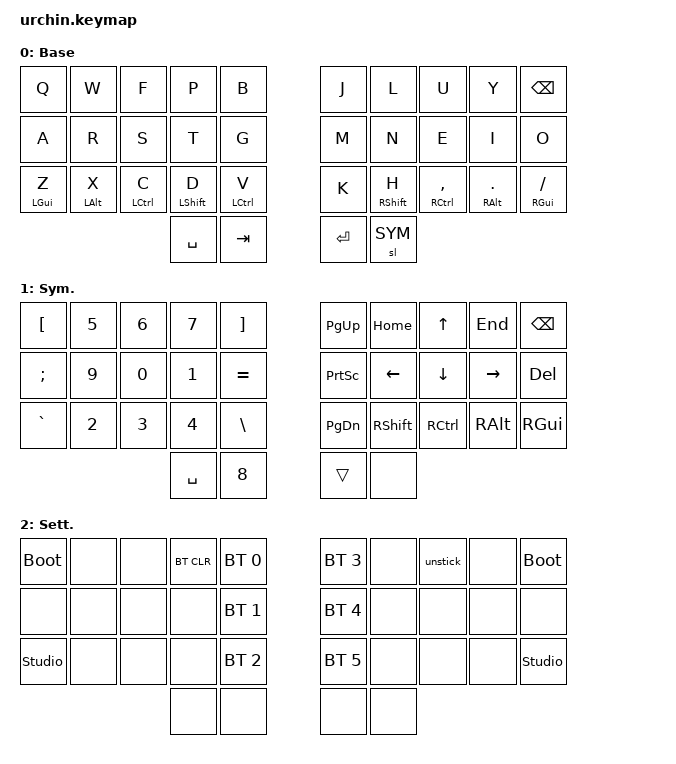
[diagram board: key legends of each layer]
/*
 * Copyright (c) 2020 duckyb
 *
 * SPDX-License-Identifier: MIT
 */

#include <behaviors.dtsi>
#include <dt-bindings/zmk/keys.h>
#include <dt-bindings/zmk/bt.h>
#include <dt-bindings/zmk/outputs.h>

// Layer definitions
#define BASE 0
#define SYM 1
#define SETTINGS 2
// -----------------

&sk {
	// don't release mods on other mods presses
	ignore-modifiers;
};

/ {

    behaviors {
        bmt: balanced_mod_taps {
            compatible = "zmk,behavior-hold-tap";
            #binding-cells = <2>;
            tapping-term-ms = <150>;    // <---[[moderate duration]]
            quick-tap-ms = <0>;
            flavor = "balanced";
            bindings = <&kp>, <&kp>;
        };
    };

	macros {
		// sometimes my device thinks a modifier is being held down
		// pressing all modifiers fixes it.
		unstick: unstick {
			label = "ZM_unstick";
			compatible = "zmk,behavior-macro";
			#binding-cells = <0>;
			bindings = <&kp LSHIFT &kp RSHIFT &kp LCTRL &kp RCTRL &kp LALT &kp RALT &kp LGUI &kp RGUI>;
		};
	};

	combos {
		compatible = "zmk,combos";
		// both right thumb keys
		combo_caps_lock {
			timeout-ms = <25>;
			key-positions = <1 2 3>;
			bindings = <&kp CAPSLOCK>;
		};
		combo_escape {
			timeout-ms = <25>;
			key-positions = <1 2>;
			bindings = <&kp ESCAPE>;
		};
		combo_exclamation {
			timeout-ms = <25>;
			key-positions = <2 3>;
			bindings = <&kp EXCLAMATION>;
		};
		combo_minus {
			timeout-ms = <25>;
			key-positions = <6 7>;
			bindings = <&kp MINUS>;
		};
		combo_apostrophe {
			timeout-ms = <25>;
			key-positions = <7 8>;
			bindings = <&kp SINGLE_QUOTE>;
		};

		// both left thumb keys
		combo_settings {
			timeout-ms = <25>;
			key-positions = <30 31>;
			bindings = <&mo SETTINGS>;
		};
	};

	keymap {
		compatible = "zmk,keymap";
		// Base alpha layer
		default_layer {
			label = "Base";
			bindings = <
			&kp Q &kp W &kp F &kp P &kp B                                                     	       &kp J &kp L  &kp U     &kp Y   &kp BACKSPACE 
			&kp A &kp R &kp S &kp T &kp G                                                     	       &kp M &kp N  &kp E     &kp I   &kp O
			&bmt LEFT_GUI Z &bmt LEFT_ALT X &bmt LEFT_CONTROL C &bmt LEFT_SHIFT D &bmt LEFT_CONTROL V           &kp K &bmt RIGHT_SHIFT H  &bmt RIGHT_CONTROL COMMA &bmt RIGHT_ALT DOT &bmt RIGHT_GUI SLASH
							&kp SPACE &kp TAB                                              &kp ENTER &sl SYM
			>;
		};

		// Numbers and high frequency symbols
		sym_layer {
			label = "Sym.";
			bindings = <
			&kp LEFT_BRACKET &kp NUMBER_5 &kp NUMBER_6 &kp NUMBER_7 &kp RIGHT_BRACKET		     &kp PAGE_UP &kp HOME &kp UP_ARROW &kp END &kp BACKSPACE
			&kp SEMICOLON &kp NUMBER_9 &kp NUMBER_0 &kp NUMBER_1 &kp EQUAL                       &kp PRINTSCREEN &kp LEFT_ARROW &kp DOWN_ARROW &kp RIGHT_ARROW &kp DELETE
			&kp GRAVE &kp NUMBER_2 &kp NUMBER_3 &kp NUMBER_4 &kp BACKSLASH              	     &kp PAGE_DOWN &kp RIGHT_SHIFT &kp RIGHT_CONTROL &kp RIGHT_ALT &kp RIGHT_GUI
														&kp SPACE  &kp NUMBER_8       &trans &none
			>;
		};

		// Used to change the keyboard's settings.
		settings_layer {
				label = "Sett.";
				bindings = <
				&bootloader &none &none &bt BT_CLR &bt BT_SEL 0               &bt BT_SEL 3 &none &unstick &none &bootloader 
				&none &none &none &none      &bt BT_SEL 1 						  &bt BT_SEL 4 &none &none &none &none
				&studio_unlock &none &none &none      &bt BT_SEL 2               &bt BT_SEL 5 &none &none &none &studio_unlock
										&none &none                         &none &none 
				>;
		};
	};
};
